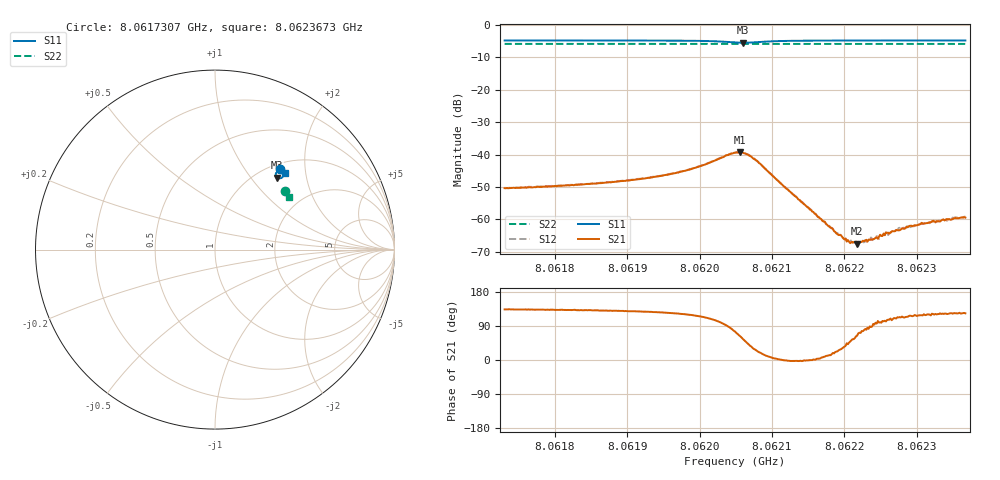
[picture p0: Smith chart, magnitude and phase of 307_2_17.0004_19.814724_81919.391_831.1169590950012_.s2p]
#  HZ  S  RI  R  50.00
! Rohde & Schwarz Vector Network Analyzer
! Rohde-Schwarz,ZNB20-2Port,1311601062101988,3.16
! Created: UTC 3/20/2024, 11:05:51 PM
! freq[Hz]  re:S11  im:S11  re:S21  im:S21  re:S12  im:S12  re:S22  im:S22
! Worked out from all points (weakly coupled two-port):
!   401 points, 8.0617307 GHz to 8.0623673 GHz, reference 50 ohm
!   highest |S21| = -39.24 dB at 8.0620554 GHz (marker M1); lowest = -67.4 dB at 8.0622177 GHz (marker M2)
!   lowest |S11| = -5.5 dB at 8.0620602 GHz (marker M3), VSWR 3.26, Z = 61.1 + j68.2 ohm
!   |S11| at or under -10 dB: nowhere
!   |S22| runs from -5.9 to -5.8 dB; largest |S21 - S12| = 0.00079
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8.06173071e9  0.3601 0.4495  -0.00209 0.0022  -0.00198 0.00235  0.392 0.3265
8.06183734e9  0.3676 0.443  -0.00229 0.00258  -0.00212 0.00277  0.3961 0.3214
8.061901e9  0.3724 0.4381  -0.00249 0.0031  -0.00234 0.00325  0.3984 0.3182
8.06194398e9  0.376 0.4333  -0.00274 0.00375  -0.00251 0.00394  0.4001 0.3159
8.06198695e9  0.38 0.4253  -0.00287 0.00516  -0.00256 0.00541  0.4016 0.3135
8.06204902e9  0.3608 0.3968  0.00273 0.0103  0.00343 0.0102  0.4025 0.3097
8.06205539e9  0.3521 0.3979  0.0048 0.0098  0.00544 0.00955  0.4023 0.3094
8.06206016e9  0.3462 0.4014  0.00611 0.00875  0.00658 0.00839  0.4022 0.3094
8.06206971e9  0.3387 0.4128  0.00755 0.00586  0.00794 0.00552  0.4024 0.3098
8.06208085e9  0.3397 0.4258  0.00719 0.00291  0.00728 0.0024  0.4031 0.3097
8.06211586e9  0.3568 0.4393  0.00328 -3.29e-05  0.00334 -0.000246  0.4053 0.3084
8.06215565e9  0.3677 0.4384  0.00132 -9.19e-06  0.00135 -9.19e-05  0.4072 0.3064
8.06218908e9  0.373 0.4364  0.000564 0.000227  0.000587 0.000182  0.4085 0.3047
8.06220022e9  0.3744 0.4356  0.000402 0.000283  0.000428 0.000253  0.4089 0.3041
8.06220658e9  0.3753 0.4352  0.000314 0.000324  0.000342 0.00032  0.4091 0.3037
8.06221772e9  0.3764 0.4344  0.000184 0.000382  0.000219 0.000377  0.4096 0.3032
8.06224319e9  0.3789 0.4329  -7.58e-05 0.000513  -7.47e-06 0.000517  0.4104 0.3018
8.06226229e9  0.3806 0.4317  -0.000173 0.000579  -0.000191 0.000592  0.4111 0.3008
8.0622782e9  0.382 0.4308  -0.000267 0.000646  -0.00025 0.000664  0.4117 0.3
8.06228934e9  0.3829 0.4301  -0.000348 0.000707  -0.000292 0.000763  0.4122 0.2994
8.06232117e9  0.385 0.4283  -0.000496 0.000788  -0.000417 0.000829  0.4132 0.2977
8.06236733e9  0.3883 0.4257  -0.000583 0.000893  -0.000574 0.00094  0.4149 0.2953
